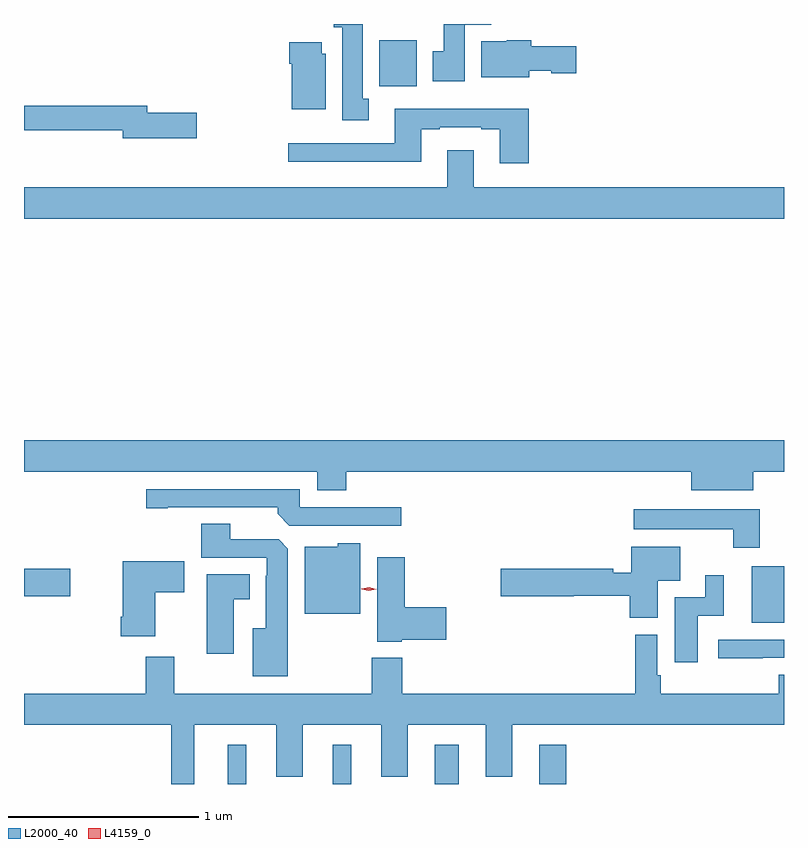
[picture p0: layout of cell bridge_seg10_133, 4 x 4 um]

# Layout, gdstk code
import gdstk
lib = gdstk.Library(unit=1e-6, precision=1e-09)
def R(c, l, rs):  # rectangles x0, y0, x1, y1
    for r in rs: c.add(gdstk.rectangle(r[:2], r[2:], *l))
def P(c, l, *ps):  # polygons
    for p in ps: c.add(gdstk.Polygon(p, *l))
L2000_40 = (2000, 40)
L4159_0 = (4159, 0)

bridge_seg10_133 = lib.new_cell('bridge_seg10_133')
R(bridge_seg10_133, L2000_40, [(350.378,1268.036,350.476,1268.242), (350.93,1268.036,351.028,1268.242), (351.467,1268.036,351.595,1268.242), (352.019,1268.036,352.16,1268.242), (353.135,1268.885,353.306,1269.181), (349.306,1269.023,349.549,1269.17), (351.176,1271.708,351.373,1271.95)])
P(bridge_seg10_133, L2000_40, [(351.625,1272.032),(351.764,1272.032),(351.764,1272.036),(351.515,1272.036),(351.515,1271.892),(351.458,1271.892),(351.458,1271.736),(351.625,1271.736)],
  [(351.121,1271.642),(351.088,1271.642),(351.088,1272.036),(350.936,1272.036),(350.936,1272.018),(350.981,1272.018),(350.981,1271.529),(351.121,1271.529)],
  [(351.964,1271.789),(352.08,1271.789),(352.08,1271.777),(352.213,1271.777),(352.213,1271.919),(351.977,1271.919),(351.977,1271.95),(351.846,1271.95),(351.846,1271.944),(351.713,1271.944),(351.713,1271.756),(351.964,1271.756)],
  [(350.893,1271.88),(350.872,1271.88),(350.872,1271.941),(350.702,1271.941),(350.702,1271.828),(350.714,1271.828),(350.714,1271.588),(350.893,1271.588)],
  [(350.215,1271.57),(349.954,1271.57),(349.954,1271.606),(349.306,1271.606),(349.306,1271.478),(349.826,1271.478),(349.826,1271.435),(350.215,1271.435)],
  [(351.962,1271.59),(351.257,1271.59),(351.257,1271.409),(350.697,1271.409),(350.697,1271.312),(351.397,1271.312),(351.397,1271.481),(351.493,1271.481),(351.493,1271.493),(351.713,1271.493),(351.713,1271.481),(351.809,1271.481),(351.809,1271.304),(351.962,1271.304)],
  [(353.306,1271.176),(351.673,1271.176),(351.673,1271.371),(351.533,1271.371),(351.533,1271.176),(349.306,1271.176),(349.306,1271.012),(353.306,1271.012)],
  [(351.002,1269.68),(352.817,1269.68),(352.817,1269.581),(353.143,1269.581),(353.143,1269.68),(353.306,1269.68),(353.306,1269.844),(349.306,1269.844),(349.306,1269.68),(350.849,1269.68),(350.849,1269.581),(351.002,1269.581)],
  [(351.292,1269.492),(350.757,1269.492),(350.757,1269.588),(349.95,1269.588),(349.95,1269.487),(350.062,1269.487),(350.062,1269.492),(350.642,1269.492),(350.642,1269.458),(350.703,1269.396),(351.292,1269.396)],
  [(353.179,1269.481),(352.515,1269.481),(352.515,1269.377),(353.039,1269.377),(353.039,1269.279),(353.179,1269.279)],
  [(350.695,1269.275),(350.646,1269.324),(350.392,1269.324),(350.392,1269.407),(350.24,1269.407),(350.24,1269.228),(350.583,1269.228),(350.583,1269.131),(350.579,1269.131),(350.579,1268.857),(350.51,1268.857),(350.51,1268.603),(350.695,1268.603)],
  [(351.076,1269.304),(350.958,1269.304),(350.958,1269.286),(350.783,1269.286),(350.783,1268.933),(351.076,1268.933)],
  [(352.642,1269.107),(352.759,1269.107),(352.759,1269.286),(352.502,1269.286),(352.502,1269.147),(352.406,1269.147),(352.406,1269.17),(351.816,1269.17),(351.816,1269.023),(352.2,1269.023),(352.2,1269.028),(352.495,1269.028),(352.495,1268.91),(352.642,1268.91)],
  [(351.294,1268.795),(351.529,1268.795),(351.529,1268.966),(351.311,1268.966),(351.311,1269.229),(351.164,1269.229),(351.164,1268.786),(351.294,1268.786)],
  [(349.996,1269.046),(350.149,1269.046),(350.149,1269.208),(349.826,1269.208),(349.826,1268.917),(349.814,1268.917),(349.814,1268.813),(349.996,1268.813)],
  [(350.41,1269.008),(350.494,1269.008),(350.494,1269.139),(350.267,1269.139),(350.267,1268.721),(350.41,1268.721)],
  [(352.852,1268.922),(352.99,1268.922),(352.99,1269.136),(352.892,1269.136),(352.892,1269.018),(352.73,1269.018),(352.73,1268.676),(352.852,1268.676)],
  [(350.203,1268.348),(350.633,1268.348),(350.633,1268.075),(350.773,1268.075),(350.773,1268.348),(351.185,1268.348),(351.185,1268.075),(351.325,1268.075),(351.325,1268.348),(351.737,1268.348),(351.737,1268.075),(351.877,1268.075),(351.877,1268.348),(353.306,1268.348),(353.306,1268.611),(353.279,1268.611),(353.279,1268.512),(352.658,1268.512),(352.658,1268.608),(352.638,1268.608),(352.638,1268.821),(352.522,1268.821),(352.522,1268.512),(351.296,1268.512),(351.296,1268.701),(351.136,1268.701),(351.136,1268.512),(350.098,1268.512),(350.098,1268.707),(349.946,1268.707),(349.946,1268.512),(349.306,1268.512),(349.306,1268.348),(350.082,1268.348),(350.082,1268.036),(350.203,1268.036)],
  [(353.195,1268.7),(353.306,1268.7),(353.306,1268.796),(352.959,1268.796),(352.959,1268.699),(353.195,1268.699)])
P(bridge_seg10_133, L4159_0, [(351.121,1269.052),(351.083,1269.062),(351.082,1269.063),(351.083,1269.063),(351.122,1269.072),(351.16,1269.061),(351.16,1269.061),(351.16,1269.06)])

lib.write_gds('bridge_seg10_133.gds')
